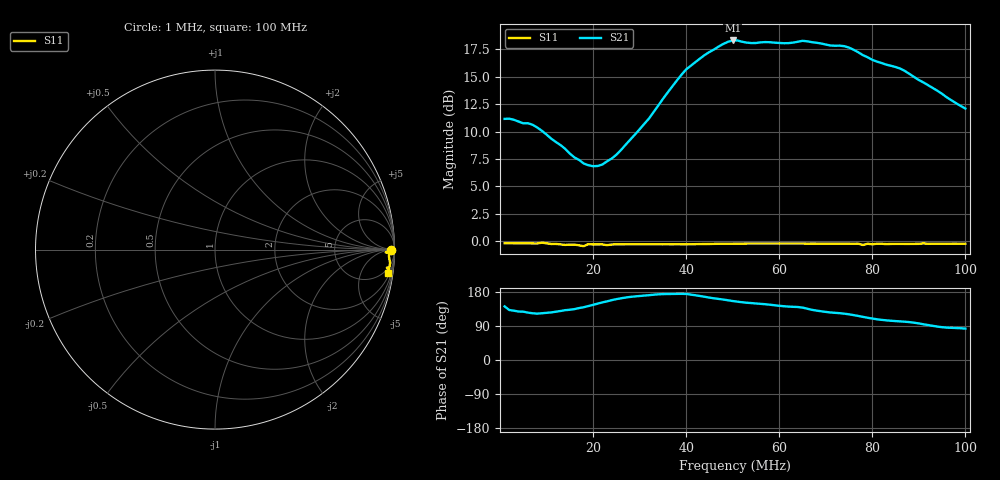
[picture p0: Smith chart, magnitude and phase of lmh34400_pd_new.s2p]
# HZ S RI R 50
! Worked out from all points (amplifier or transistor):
!   100 points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, 1 MHz to 100 MHz, reference 50 ohm
!   highest |S21| = 18.3 dB at 50 MHz (marker M1)
!   |S21| within 3 dB of that: 39.26 MHz to 87.8 MHz (48.54 MHz wide, 76.4 % of centre)
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1000001  0.9808 -0.00126  -2.826 2.254  0 0  0 0
2000001  0.9804 -0.00197  -2.421 2.694  0 0  0 0
7000001  0.9782 -0.00594  -1.869 2.838  0 0  0 0
1.8e7  0.9507 -0.0156  -1.715 1.476  0 0  0 0
2.5e7  0.9689 -0.015  -2.338 0.8253  0 0  0 0
3.1e7  0.9703 -0.0231  -3.376 0.5974  0 0  0 0
3.4e7  0.9696 -0.0276  -4.127 0.483  0 0  0 0
4e7  0.9684 -0.0387  -6.044 0.5991  0 0  0 0
4.5e7  0.9714 -0.0531  -7.028 1.928  0 0  0 0
4.8e7  0.9732 -0.0607  -7.434 2.78  0 0  0 0
5e7  0.9734 -0.064  -7.496 3.396  0 0  0 0
5.1e7  0.9738 -0.066  -7.392 3.614  0 0  0 0
6.1e7  0.9743 -0.0823  -6.287 4.939  0 0  0 0
6.5e7  0.9736 -0.088  -6.122 5.453  0 0  0 0
6.7e7  0.9729 -0.0904  -5.458 5.963  0 0  0 0
7.1e7  0.9716 -0.0948  -4.527 6.356  0 0  0 0
7.5e7  0.9705 -0.0996  -3.874 6.578  0 0  0 0
8e7  0.9642 -0.1049  -2.232 6.333  0 0  0 0
8.4e7  0.9676 -0.1082  -1.486 6.133  0 0  0 0
8.8e7  0.9669 -0.1146  -1 5.703  0 0  0 0
9.5e7  0.9678 -0.1218  0.2822 4.69  0 0  0 0
1e8  0.9665 -0.1283  0.5009 3.998  0 0  0 0
